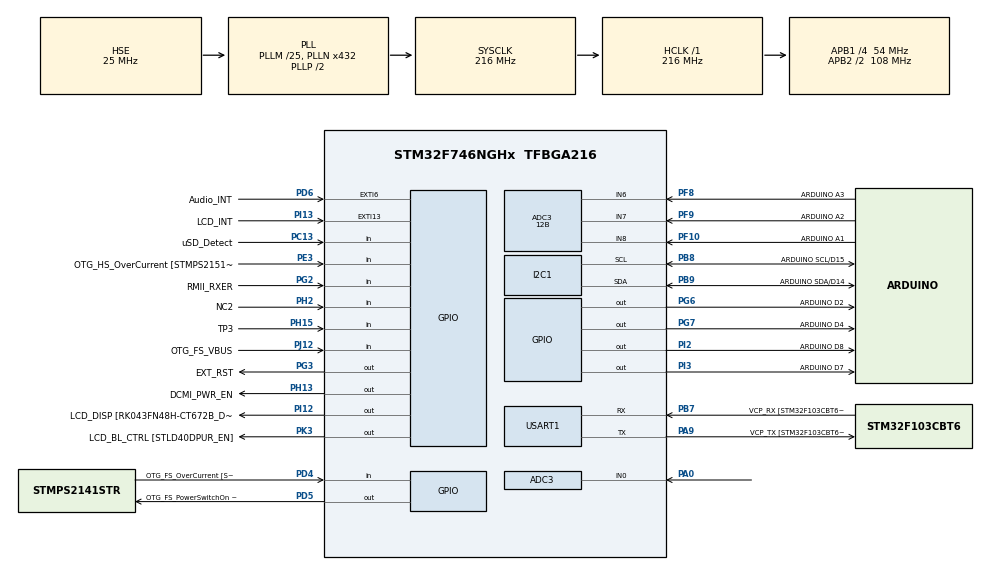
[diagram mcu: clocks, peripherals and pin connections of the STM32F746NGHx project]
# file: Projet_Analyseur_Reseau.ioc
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ADC3.Channel-0\#ChannelRegularConversion=ADC_CHANNEL_6
ADC3.ContinuousConvMode=DISABLE
ADC3.ExternalTrigConv=ADC_EXTERNALTRIGCONV_T8_TRGO
ADC3.NbrOfConversion=1
ADC3.NbrOfConversionFlag=1
ADC3.Rank-0\#ChannelRegularConversion=1
ADC3.Resolution=ADC_RESOLUTION_12B
ADC3.SamplingTime-0\#ChannelRegularConversion=ADC_SAMPLETIME_56CYCLES
Dma.ADC3.0.Direction=DMA_PERIPH_TO_MEMORY
Dma.ADC3.0.FIFOMode=DMA_FIFOMODE_ENABLE
Dma.ADC3.0.FIFOThreshold=DMA_FIFO_THRESHOLD_FULL
Dma.ADC3.0.Instance=DMA2_Stream0
Dma.ADC3.0.MemBurst=DMA_MBURST_SINGLE
Dma.ADC3.0.MemDataAlignment=DMA_MDATAALIGN_HALFWORD
Dma.ADC3.0.MemInc=DMA_MINC_ENABLE
Dma.ADC3.0.Mode=DMA_CIRCULAR
Dma.ADC3.0.PeriphBurst=DMA_PBURST_SINGLE
Dma.ADC3.0.PeriphDataAlignment=DMA_PDATAALIGN_HALFWORD
Dma.ADC3.0.PeriphInc=DMA_PINC_DISABLE
Dma.ADC3.0.Priority=DMA_PRIORITY_LOW
Dma.Request0=ADC3
I2C1.Timing=0x20404768
Mcu.Family=STM32F7
Mcu.Name=STM32F746NGHx
Mcu.Package=TFBGA216
NVIC.ADC_IRQn=true\:0\:0\:false\:false\:true\:true\:true\:true
NVIC.DMA2_Stream0_IRQn=true\:0\:0\:false\:false\:true\:false\:true\:true
NVIC.PriorityGroup=NVIC_PRIORITYGROUP_4
NVIC.TIM6_DAC_IRQn=true\:15\:0\:false\:false\:true\:false\:true\:true
NVIC.TimeBase=TIM6_DAC_IRQn
NVIC.TimeBaseIP=TIM6
PA0/WKUP.Signal=ADCx_IN0
PA1.GPIO_Label=RMII_REF_CLK [LAN8742A-CZ-TR_REFCLK0]
PA1.Signal=ETH_REF_CLK
PA10.GPIO_Label=OTG_FS_ID
PA10.Signal=USB_OTG_FS_ID
PA11.GPIO_Label=OTG_FS_N
PA11.Signal=USB_OTG_FS_DM
PA12.GPIO_Label=OTG_FS_P
PA12.Signal=USB_OTG_FS_DP
PA13.GPIO_Label=SWDIO
PA13.Mode=Serial_Wire
PA13.Signal=SYS_JTMS-SWDIO
PA14.GPIO_Label=SWCLK
PA14.Mode=Serial_Wire
PA14.Signal=SYS_JTCK-SWCLK
PA15.GPIO_Label=ARDUINO PWM/D9
PA15.GPIO_ModeDefaultPP=GPIO_MODE_AF_PP
PA15.GPIO_PuPd=GPIO_NOPULL
PA15.GPIO_Speed=GPIO_SPEED_FREQ_LOW
PA15.Signal=S_TIM2_CH1_ETR
PA2.GPIO_Label=RMII_MDIO [LAN8742A-CZ-TR_MDIO]
PA2.Signal=ETH_MDIO
PA3.GPIO_Label=ULPI_D0 [USB3320C-EZK_D0]
PA3.Signal=USB_OTG_HS_ULPI_D0
PA4.GPIO_Label=DCMI_HSYNC
PA4.Signal=DCMI_HSYNC
PA5.GPIO_Label=ULPI_CLK [USB3320C-EZK_CLKOUT]
PA5.Signal=USB_OTG_HS_ULPI_CK
PA6.Signal=DCMI_PIXCLK
PA7.GPIO_Label=RMII_CRS_DV [LAN8742A-CZ-TR_CRS_DV]
PA7.Signal=ETH_CRS_DV
PA8.GPIO_Label=ARDUINO PWM/D10
PA8.GPIO_ModeDefaultPP=GPIO_MODE_AF_PP
PA8.GPIO_PuPd=GPIO_NOPULL
PA8.GPIO_Speed=GPIO_SPEED_FREQ_LOW
PA8.Signal=S_TIM1_CH1
PA9.GPIO_Label=VCP_TX [STM32F103CBT6_PA3]
PA9.GPIO_Mode=GPIO_MODE_AF_PP
PA9.GPIO_PuPd=GPIO_NOPULL
PA9.GPIO_Speed=GPIO_SPEED_FREQ_LOW
PA9.Mode=Asynchronous
PA9.Signal=USART1_TX
PB0.GPIO_Label=ULPI_D1 [USB3320C-EZK_D1]
PB0.Signal=USB_OTG_HS_ULPI_D1
PB1.GPIO_Label=ULPI_D2 [USB3320C-EZK_D2]
PB1.Signal=USB_OTG_HS_ULPI_D2
PB10.GPIO_Label=ULPI_D3 [USB3320C-EZK_D3]
PB10.Signal=USB_OTG_HS_ULPI_D3
PB11.GPIO_Label=ULPI_D4 [USB3320C-EZK_D4]
PB11.Signal=USB_OTG_HS_ULPI_D4
PB12.GPIO_Label=ULPI_D5 [USB3320C-EZK_D5]
PB12.Signal=USB_OTG_HS_ULPI_D5
PB13.GPIO_Label=ULPI_D6 [USB3320C-EZK_D6]
PB13.Signal=USB_OTG_HS_ULPI_D6
PB14.GPIO_Label=ARDUINO MISO/D12
PB14.GPIO_Mode=GPIO_MODE_AF_PP
PB14.GPIO_PuPd=GPIO_NOPULL
PB14.GPIO_Speed=GPIO_SPEED_FREQ_LOW
PB14.Signal=SPI2_MISO
PB15.GPIO_Label=ARDUINO MOSI/PWM/D11
PB15.GPIO_Mode=GPIO_MODE_AF_PP
PB15.GPIO_PuPd=GPIO_NOPULL
PB15.GPIO_Speed=GPIO_SPEED_FREQ_LOW
PB15.Signal=SPI2_MOSI
PB2.Signal=QUADSPI_CLK
PB3.GPIO_Label=SWO
PB3.Signal=SYS_JTDO-SWO
PB4.GPIO_Label=ARDUINO PWM/D3
PB4.GPIO_ModeDefaultPP=GPIO_MODE_AF_PP
PB4.GPIO_PuPd=GPIO_NOPULL
PB4.GPIO_Speed=GPIO_SPEED_FREQ_LOW
PB4.Signal=S_TIM3_CH1
PB5.GPIO_Label=ULPI_D7 [USB3320C-EZK_D7]
PB5.Signal=USB_OTG_HS_ULPI_D7
PB6.GPIO_Label=QSPI_NCS [N25Q128A13EF840E_S]
PB6.Signal=QUADSPI_BK1_NCS
PB7.GPIO_Label=VCP_RX [STM32F103CBT6_PA2]
PB7.GPIO_Mode=GPIO_MODE_AF_PP
PB7.GPIO_PuPd=GPIO_NOPULL
PB7.GPIO_Speed=GPIO_SPEED_FREQ_LOW
PB7.Mode=Asynchronous
PB7.Signal=USART1_RX
PB8.GPIO_Label=ARDUINO SCL/D15
PB8.GPIO_Mode=GPIO_MODE_AF_OD
PB8.GPIO_PuPd=GPIO_NOPULL
PB8.GPIO_Speed=GPIO_SPEED_FREQ_LOW
PB8.Mode=I2C
PB8.Signal=I2C1_SCL
PB9.GPIO_Label=ARDUINO SDA/D14
PB9.GPIO_Mode=GPIO_MODE_AF_OD
PB9.GPIO_PuPd=GPIO_NOPULL
PB9.GPIO_Speed=GPIO_SPEED_FREQ_LOW
PB9.Mode=I2C
PB9.Signal=I2C1_SDA
PC0.GPIO_Label=ULPI_STP [USB3320C-EZK_STP]
PC0.Signal=USB_OTG_HS_ULPI_STP
PC1.GPIO_Label=RMII_MDC [LAN8742A-CZ-TR_MDC]
PC1.Signal=ETH_MDC
PC10.GPIO_Label=SDMMC_D2
PC10.Signal=SDMMC1_D2
PC11.GPIO_Label=SDMMC_D3
PC11.Signal=SDMMC1_D3
PC12.GPIO_Label=SDMMC_CK
PC12.Signal=SDMMC1_CK
PC13.GPIO_Label=uSD_Detect
PC13.Signal=GPIO_Input
PC14/OSC32_IN.GPIO_Label=RCC_OSC32_IN
PC14/OSC32_IN.Signal=RCC_OSC32_IN
PC15/OSC32_OUT.GPIO_Label=RCC_OSC32_OUT
PC15/OSC32_OUT.Signal=RCC_OSC32_OUT
PC2.GPIO_Label=ULPI_DIR [USB3320C-EZK_DIR]
PC2.Signal=USB_OTG_HS_ULPI_DIR
PC3.GPIO_Label=FMC_SDCKE0 [MT48LC4M32B2B5-6A_CKE]
PC3.Signal=FMC_SDCKE0
PC4.GPIO_Label=RMII_RXD0 [LAN8742A-CZ-TR_RXD0]
PC4.Signal=ETH_RXD0
PC5.GPIO_Label=RMII_RXD1 [LAN8742A-CZ-TR_RXD1]
PC5.Signal=ETH_RXD1
PC6.GPIO_Label=ARDUINO TX/D1
PC6.Signal=USART6_TX
PC7.GPIO_Label=ARDUINO RX/D0
PC7.Signal=USART6_RX
PC8.Signal=SDMMC1_D0
PC9.Signal=SDMMC1_D1
PD0.GPIO_Label=FMC_D2 [MT48LC4M32B2B5-6A_DQ2]
PD0.Signal=FMC_D2_DA2
PD1.GPIO_Label=FMC_D3 [MT48LC4M32B2B5-6A_DQ3]
PD1.Signal=FMC_D3_DA3
PD10.GPIO_Label=FMC_D15 [MT48LC4M32B2B5-6A_DQ15]
PD10.Signal=FMC_D15_DA15
PD11.GPIO_Label=QSPI_D0 [N25Q128A13EF840E_DQ0]
PD11.Signal=QUADSPI_BK1_IO0
PD12.GPIO_Label=QSPI_D1 [N25Q128A13EF840E_DQ1]
PD12.Signal=QUADSPI_BK1_IO1
PD13.GPIO_Label=QSPI_D3 [N25Q128A13EF840E_DQ3]
PD13.Signal=QUADSPI_BK1_IO3
PD14.GPIO_Label=FMC_D0 [MT48LC4M32B2B5-6A_DQ0]
PD14.Signal=FMC_D0_DA0
PD15.GPIO_Label=FMC_D1 [MT48LC4M32B2B5-6A_DQ1]
PD15.Signal=FMC_D1_DA1
PD2.GPIO_Label=SDMMC_D0
PD2.Signal=SDMMC1_CMD
PD3.GPIO_Label=DCMI_D5
PD3.Signal=DCMI_D5
PD4.GPIO_Label=OTG_FS_OverCurrent [STMPS2141STR_Fault]
PD4.Signal=GPIO_Input
PD5.GPIO_Label=OTG_FS_PowerSwitchOn [STMPS2141STR_EN]
PD5.PinState=GPIO_PIN_SET
PD5.Signal=GPIO_Output
PD6.GPIO_Label=Audio_INT
PD6.GPIO_ModeDefaultEXTI=GPIO_MODE_EVT_RISING
PD6.Signal=GPXTI6
PD7.GPIO_Label=SPDIF_RX0 [74LVC1G04SE_4]
PD7.Signal=SPDIFRX_IN0
PD8.GPIO_Label=FMC_D13 [MT48LC4M32B2B5-6A_DQ13]
PD8.Signal=FMC_D13_DA13
PD9.GPIO_Label=FMC_D14 [MT48LC4M32B2B5-6A_DQ14]
PD9.Signal=FMC_D14_DA14
PE0.GPIO_Label=FMC_NBL0 [MT48LC4M32B2B5-6A_DQM0]
PE0.Signal=FMC_NBL0
PE1.GPIO_Label=FMC_NBL1 [MT48LC4M32B2B5-6A_DQM1]
PE1.Signal=FMC_NBL1
PE10.GPIO_Label=FMC_D7 [MT48LC4M32B2B5-6A_DQ7]
PE10.Signal=FMC_D7_DA7
PE11.GPIO_Label=FMC_D8 [MT48LC4M32B2B5-6A_DQ8]
PE11.Signal=FMC_D8_DA8
PE12.GPIO_Label=FMC_D9 [MT48LC4M32B2B5-6A_DQ9]
PE12.Signal=FMC_D9_DA9
PE13.GPIO_Label=FMC_D10 [MT48LC4M32B2B5-6A_DQ10]
PE13.Signal=FMC_D10_DA10
PE14.GPIO_Label=FMC_D11 [MT48LC4M32B2B5-6A_DQ11]
PE14.Signal=FMC_D11_DA11
PE15.GPIO_Label=FMC_D12 [MT48LC4M32B2B5-6A_DQ12]
PE15.Signal=FMC_D12_DA12
PE2.GPIO_Label=QSPI_D2 [N25Q128A13EF840E_DQ2]
PE2.Signal=QUADSPI_BK1_IO2
PE3.GPIO_Label=OTG_HS_OverCurrent [STMPS2151STR_FAULT]
PE3.Signal=GPIO_Input
PE4.GPIO_Label=LCD_B0 [RK043FN48H-CT672B_B0]
PE4.Signal=LTDC_B0
PE5.GPIO_Label=DCMI_D6
PE5.Signal=DCMI_D6
PE6.GPIO_Label=DCMI_D7
PE6.Signal=DCMI_D7
PE7.GPIO_Label=FMC_D4 [MT48LC4M32B2B5-6A_DQ4]
PE7.Signal=FMC_D4_DA4
PE8.GPIO_Label=FMC_D5 [MT48LC4M32B2B5-6A_DQ5]
PE8.Signal=FMC_D5_DA5
PE9.GPIO_Label=FMC_D6 [MT48LC4M32B2B5-6A_DQ6]
PE9.Signal=FMC_D6_DA6
PF0.GPIO_Label=FMC_A0 [MT48LC4M32B2B5-6A_A0]
PF0.Signal=FMC_A0
PF1.GPIO_Label=FMC_A1 [MT48LC4M32B2B5-6A_A1]
PF1.Signal=FMC_A1
PF10.GPIO_Label=ARDUINO A1
PF10.GPIO_Mode=GPIO_MODE_ANALOG
PF10.GPIO_PuPd=GPIO_NOPULL
PF10.Mode=IN8
PF10.Signal=ADC3_IN8
PF11.GPIO_Label=FMC_SDNRAS [MT48LC4M32B2B5-6A_RAS]
PF11.Signal=FMC_SDNRAS
PF12.GPIO_Label=FMC_A6 [MT48LC4M32B2B5-6A_A6]
PF12.Signal=FMC_A6
PF13.GPIO_Label=FMC_A7 [MT48LC4M32B2B5-6A_A7]
PF13.Signal=FMC_A7
PF14.GPIO_Label=FMC_A8 [MT48LC4M32B2B5-6A_A8]
PF14.Signal=FMC_A8
PF15.GPIO_Label=FMC_A9 [MT48LC4M32B2B5-6A_A9]
PF15.Signal=FMC_A9
PF2.GPIO_Label=FMC_A2 [MT48LC4M32B2B5-6A_A2]
PF2.Signal=FMC_A2
PF3.GPIO_Label=FMC_A3 [MT48LC4M32B2B5-6A_A3]
PF3.Signal=FMC_A3
PF4.GPIO_Label=FMC_A4 [MT48LC4M32B2B5-6A_A4]
PF4.Signal=FMC_A4
PF5.GPIO_Label=FMC_A5 [MT48LC4M32B2B5-6A_A5]
PF5.Signal=FMC_A5
PF6.GPIO_Label=ARDUINO A5
PF6.GPIO_Mode=GPIO_MODE_ANALOG
PF6.GPIO_PuPd=GPIO_NOPULL
PF6.Signal=ADC3_IN4
PF7.GPIO_Label=ARDUINO A4
PF7.GPIO_Mode=GPIO_MODE_ANALOG
PF7.GPIO_PuPd=GPIO_NOPULL
PF7.Signal=ADC3_IN5
PF8.GPIO_Label=ARDUINO A3
PF8.GPIO_Mode=GPIO_MODE_ANALOG
PF8.GPIO_PuPd=GPIO_NOPULL
PF8.Mode=IN6
PF8.Signal=ADC3_IN6
PF9.GPIO_Label=ARDUINO A2
PF9.GPIO_Mode=GPIO_MODE_ANALOG
PF9.GPIO_PuPd=GPIO_NOPULL
PF9.Mode=IN7
PF9.Signal=ADC3_IN7
PG0.GPIO_Label=FMC_A10 [MT48LC4M32B2B5-6A_A10]
PG0.Signal=FMC_A10
PG1.GPIO_Label=FMC_A11 [MT48LC4M32B2B5-6A_A11]
PG1.Signal=FMC_A11
PG10.GPIO_Label=SAI2_SDB [WM8994ECS/R_ADCDAT1]
PG10.Signal=SAI2_SD_B
PG11.GPIO_Label=RMII_TX_EN [LAN8742A-CZ-TR_TXEN]
PG11.Signal=ETH_TX_EN
PG12.GPIO_Label=LCD_B4 [RK043FN48H-CT672B_B4]
PG12.Signal=LTDC_B4
PG13.GPIO_Label=RMII_TXD0 [LAN8742A-CZ-TR_TXD0]
PG13.Signal=ETH_TXD0
PG14.GPIO_Label=RMII_TXD1 [LAN8742A-CZ-TR_TXD1]
PG14.Signal=ETH_TXD1
PG15.GPIO_Label=FMC_SDNCAS [MT48LC4M32B2B5-6A_CAS]
PG15.Signal=FMC_SDNCAS
PG2.GPIO_Label=RMII_RXER
PG2.Signal=GPIO_Input
PG3.GPIO_Label=EXT_RST
PG3.Signal=GPIO_Output
PG4.GPIO_Label=FMC_BA0 [MT48LC4M32B2B5-6A_BA0]
PG4.Signal=FMC_A14_BA0
PG5.GPIO_Label=FMC_BA1 [MT48LC4M32B2B5-6A_BA1]
PG5.Signal=FMC_A15_BA1
PG6.GPIO_Label=ARDUINO D2
PG6.Signal=GPIO_Output
PG7.GPIO_Label=ARDUINO D4
PG7.Signal=GPIO_Output
PG8.GPIO_Label=FMC_SDCLK [MT48LC4M32B2B5-6A_CLK]
PG8.Signal=FMC_SDCLK
PG9.GPIO_Label=DCMI_VSYNC
PG9.Signal=DCMI_VSYNC
PH0/OSC_IN.GPIO_Label=OSC_25M [NZ2520SB-25.00M_OUT]
PH0/OSC_IN.Mode=HSE-External-Oscillator
PH0/OSC_IN.Signal=RCC_OSC_IN
PH1/OSC_OUT.Mode=HSE-External-Oscillator
PH1/OSC_OUT.Signal=RCC_OSC_OUT
PH10.GPIO_Label=DCMI_D1
PH10.Signal=DCMI_D1
PH11.GPIO_Label=DCMI_D2
PH11.Signal=DCMI_D2
PH12.GPIO_Label=DCMI_D3
PH12.Signal=DCMI_D3
PH13.GPIO_Label=DCMI_PWR_EN
PH13.Signal=GPIO_Output
PH14.GPIO_Label=DCMI_D4
PH14.Signal=DCMI_D4
PH15.GPIO_Label=TP3
PH15.Signal=GPIO_Input
PH2.GPIO_Label=NC2
PH2.Signal=GPIO_Input
PH3.GPIO_Label=FMC_SDNE0 [MT48LC4M32B2B5-6A_CS]
PH3.Signal=FMC_SDNE0
PH4.GPIO_Label=ULPI_NXT [USB3320C-EZK_NXT]
PH4.Signal=USB_OTG_HS_ULPI_NXT
PH5.GPIO_Label=FMC_SDNME [MT48LC4M32B2B5-6A_WE]
PH5.Signal=FMC_SDNWE
PH6.GPIO_Label=ARDUINO PWM/D6
PH6.Signal=S_TIM12_CH1
PH7.GPIO_Label=LCD_SCL [RK043FN48H-CT672B_SCL]
PH7.Signal=I2C3_SCL
PH8.GPIO_Label=LCD_SDA [RK043FN48H-CT672B_SDA]
PH8.Signal=I2C3_SDA
PH9.GPIO_Label=DCMI_D0
PH9.Signal=DCMI_D0
PI0.GPIO_Label=ARDUINO PWM/CS/D5
PI0.GPIO_ModeDefaultPP=GPIO_MODE_AF_PP
PI0.GPIO_PuPd=GPIO_NOPULL
PI0.GPIO_Speed=GPIO_SPEED_FREQ_LOW
PI0.Signal=S_TIM5_CH4
PI1.GPIO_Label=ARDUINO SCK/D13
PI1.GPIO_Mode=GPIO_MODE_AF_PP
PI1.GPIO_PuPd=GPIO_NOPULL
PI1.GPIO_Speed=GPIO_SPEED_FREQ_LOW
PI1.Signal=SPI2_SCK
PI10.GPIO_Label=LCD_HSYNC [RK043FN48H-CT672B_HSYNC]
PI10.Signal=LTDC_HSYNC
PI12.GPIO_Label=LCD_DISP [RK043FN48H-CT672B_DISP] 
PI12.Signal=GPIO_Output
PI13.GPIO_Label=LCD_INT
PI13.GPIO_ModeDefaultEXTI=GPIO_MODE_EVT_RISING
PI13.Signal=GPXTI13
PI14.GPIO_Label=LCD_CLK [RK043FN48H-CT672B_CLK]
PI14.Signal=LTDC_CLK
PI15.GPIO_Label=LCD_R0 [RK043FN48H-CT672B_R0]
PI15.Signal=LTDC_R0
PI2.GPIO_Label=ARDUINO D8
PI2.Signal=GPIO_Output
PI3.GPIO_Label=ARDUINO D7
PI3.Signal=GPIO_Output
PI4.GPIO_Label=SAI2_MCLKA [WM8994ECS/R_MCLK1]
PI4.Signal=SAI2_MCLK_A
PI5.GPIO_Label=SAI2_SCKA [WM8994ECS/R_BCLK1]
PI5.Signal=SAI2_SCK_A
PI6.GPIO_Label=SAI2_SDA [WM8994ECS/R_DACDAT1]
PI6.Signal=SAI2_SD_A
PI7.GPIO_Label=SAI2_FSA [WM8994ECS/R_LRCLK1]
PI7.Signal=SAI2_FS_A
PI8.GPIO_Label=NC1 [TP2]
PI8.Signal=RTC_TS
PI9.GPIO_Label=LCD_VSYNC [RK043FN48H-CT672B_VSYNC]
PI9.Signal=LTDC_VSYNC
PJ0.GPIO_Label=LCD_R1 [RK043FN48H-CT672B_R1]
PJ0.Signal=LTDC_R1
PJ1.GPIO_Label=LCD_R2 [RK043FN48H-CT672B_R2]
PJ1.Signal=LTDC_R2
PJ10.GPIO_Label=LCD_G3 [RK043FN48H-CT672B_G3]
PJ10.Signal=LTDC_G3
PJ11.GPIO_Label=LCD_G4 [RK043FN48H-CT672B_G4]
PJ11.Signal=LTDC_G4
PJ12.GPIO_Label=OTG_FS_VBUS
PJ12.Signal=GPIO_Input
PJ13.GPIO_Label=LCD_B1 [RK043FN48H-CT672B_B1]
PJ13.Signal=LTDC_B1
PJ14.GPIO_Label=LCD_B2 [RK043FN48H-CT672B_B2]
PJ14.Signal=LTDC_B2
PJ15.GPIO_Label=LCD_B3 [RK043FN48H-CT672B_B3]
PJ15.Signal=LTDC_B3
PJ2.GPIO_Label=LCD_R3 [RK043FN48H-CT672B_R3]
PJ2.Signal=LTDC_R3
PJ3.GPIO_Label=LCD_R4 [RK043FN48H-CT672B_R4]
PJ3.Signal=LTDC_R4
PJ4.GPIO_Label=LCD_R5 [RK043FN48H-CT672B_R5]
PJ4.Signal=LTDC_R5
PJ5.GPIO_Label=LCD_R6 [RK043FN48H-CT672B_R6]
PJ5.Signal=LTDC_R6
PJ6.GPIO_Label=LCD_R7 [RK043FN48H-CT672B_R7]
PJ6.Signal=LTDC_R7
PJ7.GPIO_Label=LCD_G0 [RK043FN48H-CT672B_G0]
PJ7.Signal=LTDC_G0
PJ8.GPIO_Label=LCD_G1 [RK043FN48H-CT672B_G1]
PJ8.Signal=LTDC_G1
PJ9.GPIO_Label=LCD_G2 [RK043FN48H-CT672B_G2]
PJ9.Signal=LTDC_G2
PK0.GPIO_Label=LCD_G5 [RK043FN48H-CT672B_G5]
PK0.Signal=LTDC_G5
PK1.GPIO_Label=LCD_G6 [RK043FN48H-CT672B_G6]
PK1.Signal=LTDC_G6
PK2.GPIO_Label=LCD_G7 [RK043FN48H-CT672B_G7]
PK2.Signal=LTDC_G7
PK3.GPIO_Label=LCD_BL_CTRL [STLD40DPUR_EN]
PK3.Signal=GPIO_Output
PK4.GPIO_Label=LCD_B5 [RK043FN48H-CT672B_B5]
PK4.Signal=LTDC_B5
PK5.GPIO_Label=LCD_B6 [RK043FN48H-CT672B_B6]
PK5.Signal=LTDC_B6
PK6.GPIO_Label=LCD_B7 [RK043FN48H-CT672B_B7]
PK6.Signal=LTDC_B7
PK7.GPIO_Label=LCD_DE [RK043FN48H-CT672B_DE]
PK7.Signal=LTDC_DE
ProjectManager.HeapSize=0x200
ProjectManager.StackSize=0x400
ProjectManager.TargetToolchain=STM32CubeIDE
RCC.AHBFreq_Value=216000000
RCC.APB1CLKDivider=RCC_HCLK_DIV4
RCC.APB1Freq_Value=54000000
RCC.APB1TimFreq_Value=108000000
RCC.APB2CLKDivider=RCC_HCLK_DIV2
RCC.APB2Freq_Value=108000000
RCC.APB2TimFreq_Value=216000000
RCC.CortexFreq_Value=216000000
RCC.HCLKFreq_Value=216000000
RCC.HSE_VALUE=25000000
RCC.HSI_VALUE=16000000
RCC.LSE_VALUE=32768
RCC.PLLM=25
RCC.PLLN=432
RCC.PLLSourceVirtual=RCC_PLLSOURCE_HSE
RCC.SYSCLKFreq_VALUE=216000000
RCC.SYSCLKSource=RCC_SYSCLKSOURCE_PLLCLK
RCC.USBFreq_Value=216000000
RCC.VCOOutputFreq_Value=432000000
SH.ADCx_IN0.0=ADC1_IN0
SH.ADCx_IN0.1=ADC2_IN0
SH.ADCx_IN0.2=ADC3_IN0,IN0
SH.FMC_A0.0=FMC_A0
SH.FMC_A1.0=FMC_A1
SH.FMC_A10.0=FMC_A10
SH.FMC_A11.0=FMC_A11
SH.FMC_A14_BA0.0=FMC_BA0
SH.FMC_A15_BA1.0=FMC_BA1
SH.FMC_A2.0=FMC_A2
SH.FMC_A3.0=FMC_A3
SH.FMC_A4.0=FMC_A4
SH.FMC_A5.0=FMC_A5
SH.FMC_A6.0=FMC_A6
SH.FMC_A7.0=FMC_A7
SH.FMC_A8.0=FMC_A8
SH.FMC_A9.0=FMC_A9
SH.FMC_D0_DA0.0=FMC_D0
SH.FMC_D10_DA10.0=FMC_D10
SH.FMC_D11_DA11.0=FMC_D11
SH.FMC_D12_DA12.0=FMC_D12
SH.FMC_D13_DA13.0=FMC_D13
SH.FMC_D14_DA14.0=FMC_D14
SH.FMC_D15_DA15.0=FMC_D15
SH.FMC_D1_DA1.0=FMC_D1
SH.FMC_D2_DA2.0=FMC_D2
SH.FMC_D3_DA3.0=FMC_D3
SH.FMC_D4_DA4.0=FMC_D4
SH.FMC_D5_DA5.0=FMC_D5
SH.FMC_D6_DA6.0=FMC_D6
SH.FMC_D7_DA7.0=FMC_D7
SH.FMC_D8_DA8.0=FMC_D8
SH.FMC_D9_DA9.0=FMC_D9
SH.FMC_NBL0.0=FMC_NBL0
SH.FMC_NBL1.0=FMC_NBL1
SH.FMC_SDCLK.0=FMC_SDCLK
SH.FMC_SDNCAS.0=FMC_SDNCAS
SH.FMC_SDNRAS.0=FMC_SDNRAS
SH.FMC_SDNWE.0=FMC_SDNWE
SH.S_TIM12_CH1.0=TIM12_CH1
SH.S_TIM1_CH1.0=TIM1_CH1
SH.S_TIM2_CH1_ETR.0=TIM2_CH1
SH.S_TIM3_CH1.0=TIM3_CH1
SH.S_TIM5_CH4.0=TIM5_CH4
TIM8.Period=999
TIM8.Prescaler=215
TIM8.TIM_MasterOutputTrigger=TIM_TRGO_UPDATE
USART1.VirtualMode-Asynchronous=VM_ASYNC
VP_SYS_VS_tim6.Mode=TIM6
VP_TIM8_VS_ClockSourceINT.Mode=Internal
board=STM32F746G-DISCO

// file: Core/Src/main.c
/* USER CODE BEGIN Header */
/**
 ******************************************************************************
 * @file           : main.c
 * @brief          : Main program body
 ******************************************************************************
 * @attention
 *
 * Copyright (c) 2024 STMicroelectronics.
 * All rights reserved.
 *
 * This software is licensed under terms that can be found in the LICENSE file
 * in the root directory of this software component.
 * If no LICENSE file comes with this software, it is provided AS-IS.
 *
 ******************************************************************************
 */
/* USER CODE END Header */
#include "main.h"
#include "adc.h"
#include "dma.h"
#include "i2c.h"
#include "tim.h"
#include "usart.h"
#include "gpio.h"

/* USER CODE BEGIN Includes */
#include "stm32f7xx_hal.h"
#include <stdio.h>
#include <string.h>
#include "oled.h"

/* USER CODE END Includes */

/* USER CODE BEGIN PV */
#define ADC_BUFFER_LENGTH 1024 // Taille du buffer
uint16_t adcBuffer[ADC_BUFFER_LENGTH]; // Déclaration du buffer pour les valeurs ADC
/* USER CODE END PV */

void SystemClock_Config(void);

/* USER CODE BEGIN 0 */

int __io_putchar(int chr)
{
	HAL_UART_Transmit(&huart1,(uint8_t *)&chr,1,HAL_MAX_DELAY);
	return chr;
}

// Déclaration des handles utilisés
//extern ADC_HandleTypeDef hadc3;
//extern UART_HandleTypeDef huart1;
//extern TIM_HandleTypeDef htim8;

uint16_t adcValue;
uint8_t adc_available = 0;
uint32_t test = 0;

// Buffer pour stocker la chaîne de caractères à envoyer via l'UART
char uartBuffer[50];

void HAL_ADC_ConvCpltCallback(ADC_HandleTypeDef* hadc)
{
	if (ADC3 == hadc->Instance)
	{
		adcValue = HAL_ADC_GetValue(&hadc3) ;
		test++;
		adc_available = 1;
	}
}
/* USER CODE END 0 */

int main(void)
{

  /* MCU Configuration--------------------------------------------------------*/

  /* Reset of all peripherals, Initializes the Flash interface and the Systick. */
  HAL_Init();

  /* USER CODE BEGIN Init */
	SystemClock_Config();
	MX_GPIO_Init();
	MX_ADC3_Init();
	MX_USART1_UART_Init();
	MX_TIM8_Init();

	HAL_ADC_Start_DMA(&hadc3, (uint32_t*)adcBuffer, ADC_BUFFER_LENGTH);

  /* USER CODE END Init */

  /* Configure the system clock */
  SystemClock_Config();

  /* Initialize all configured peripherals */
  MX_GPIO_Init();
  MX_DMA_Init();
  MX_TIM8_Init();
  MX_USART1_UART_Init();
  MX_ADC3_Init();
  MX_I2C1_Init();

  /* USER CODE BEGIN 2 */

	HAL_ADC_Start_IT(&hadc3);
	HAL_TIM_Base_Start(&htim8);

	printf("\r\n===============================================\r\n");
	uint32_t before, after;
	before = test;
	HAL_Delay(1000);
	after = test;
	uint32_t test_old;

	printf("%d %d\r\n", before, after);

	//Pour SSD1306
	tx_Buffer_Size = snprintf((char *)uart1_Tx_Buffer, UART_TX_BUFFER_SIZE, "Simple code for SSD1306 OLED Screen\r\n");

	HAL_UART_Transmit(&huart1, uart1_Tx_Buffer, tx_Buffer_Size, 10);
		if(HAL_OK == SCREEN_SSD1306_Init(&hscreen1, &hi2c1)){
			tx_Buffer_Size = snprintf((char *)uart1_Tx_Buffer, UART_TX_BUFFER_SIZE, "Screen Init Done\r\n");
			HAL_UART_Transmit(&huart1, uart1_Tx_Buffer, tx_Buffer_Size, 10);
		}
		else{
			tx_Buffer_Size = snprintf((char *)uart1_Tx_Buffer, UART_TX_BUFFER_SIZE, "Screen Init Error\r\n");
			HAL_UART_Transmit(&huart1, uart1_Tx_Buffer, tx_Buffer_Size, 10);
		}
		int dir = 1;
		while(1){
			SSD1306_COLOR color = Black;
			SCREEN_SSD1306_Fill(&hscreen1, color);
			color = White;
			SCREEN_SSD1306_Write_String(&hscreen1, "Hello ENSEA", Font_11x18, color);
			hscreen1.CurrentX = 0;
			hscreen1.CurrentY += dir;
			if(hscreen1.CurrentY == 45) dir = -1;
			if(hscreen1.CurrentY == 0) dir = 1;
			HAL_GPIO_WritePin(OSC_TRIG_GPIO_Port, OSC_TRIG_Pin, SET);
			SCREEN_SSD1306_Update_Screen(&hscreen1);
			HAL_GPIO_WritePin(OSC_TRIG_GPIO_Port, OSC_TRIG_Pin, RESET);
			HAL_Delay(20);
		}

  /* USER CODE END 2 */

  /* Infinite loop */
  /* USER CODE BEGIN WHILE */
	while (1)
	{
		if (1 == adc_available)
		{
			adc_available = 0;

			// 0V -> 0 ; 3V3 => 4095 (2^12-1)
			printf("ADC value = %d = %f (%d:%d)\r\n", adcValue, (float)(adcValue) * 3.3 / 4095.0, test, test-test_old);
			test_old = test;

			HAL_Delay(1000);
		}

    /* USER CODE END WHILE */

	}
}

void SystemClock_Config(void)
{
  RCC_OscInitTypeDef RCC_OscInitStruct = {0};
  RCC_ClkInitTypeDef RCC_ClkInitStruct = {0};

  /** Configure the main internal regulator output voltage
  */
  __HAL_RCC_PWR_CLK_ENABLE();
  __HAL_PWR_VOLTAGESCALING_CONFIG(PWR_REGULATOR_VOLTAGE_SCALE1);

  /** Initializes the RCC Oscillators according to the specified parameters
  * in the RCC_OscInitTypeDef structure.
  */
  RCC_OscInitStruct.OscillatorType = RCC_OSCILLATORTYPE_HSE;
  RCC_OscInitStruct.HSEState = RCC_HSE_ON;
  RCC_OscInitStruct.PLL.PLLState = RCC_PLL_ON;
  RCC_OscInitStruct.PLL.PLLSource = RCC_PLLSOURCE_HSE;
  RCC_OscInitStruct.PLL.PLLM = 25;
  RCC_OscInitStruct.PLL.PLLN = 432;
  RCC_OscInitStruct.PLL.PLLP = RCC_PLLP_DIV2;
  RCC_OscInitStruct.PLL.PLLQ = 2;
  if (HAL_RCC_OscConfig(&RCC_OscInitStruct) != HAL_OK)
  {
    Error_Handler();
  }

  /** Activate the Over-Drive mode
  */
  if (HAL_PWREx_EnableOverDrive() != HAL_OK)
  {
    Error_Handler();
  }

  /** Initializes the CPU, AHB and APB buses clocks
  */
  RCC_ClkInitStruct.ClockType = RCC_CLOCKTYPE_HCLK|RCC_CLOCKTYPE_SYSCLK
                              |RCC_CLOCKTYPE_PCLK1|RCC_CLOCKTYPE_PCLK2;
  RCC_ClkInitStruct.SYSCLKSource = RCC_SYSCLKSOURCE_PLLCLK;
  RCC_ClkInitStruct.AHBCLKDivider = RCC_SYSCLK_DIV1;
  RCC_ClkInitStruct.APB1CLKDivider = RCC_HCLK_DIV4;
  RCC_ClkInitStruct.APB2CLKDivider = RCC_HCLK_DIV2;

  if (HAL_RCC_ClockConfig(&RCC_ClkInitStruct, FLASH_LATENCY_7) != HAL_OK)
  {
    Error_Handler();
  }
}

void HAL_TIM_PeriodElapsedCallback(TIM_HandleTypeDef *htim)
{
  if (htim->Instance == TIM6) {
    HAL_IncTick();
  }
}

void Error_Handler(void)
{
	__disable_irq();
	while (1)
	{
	}
}
